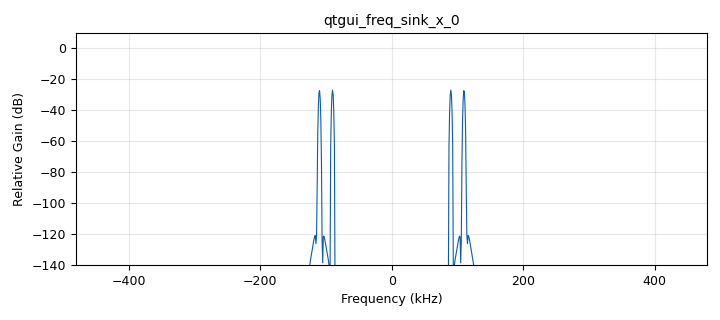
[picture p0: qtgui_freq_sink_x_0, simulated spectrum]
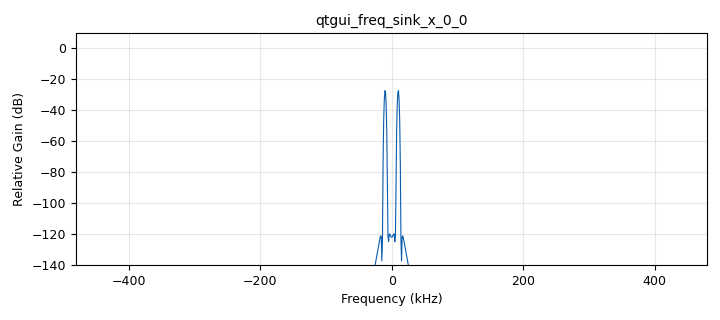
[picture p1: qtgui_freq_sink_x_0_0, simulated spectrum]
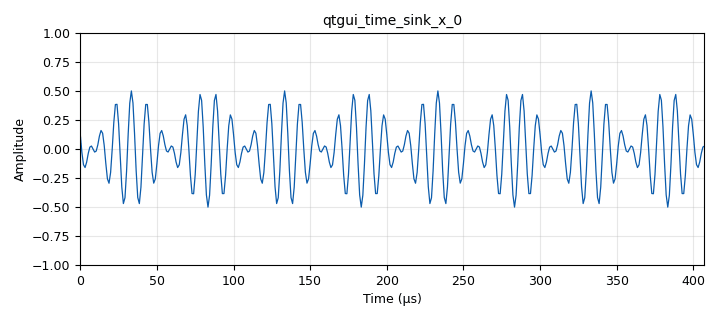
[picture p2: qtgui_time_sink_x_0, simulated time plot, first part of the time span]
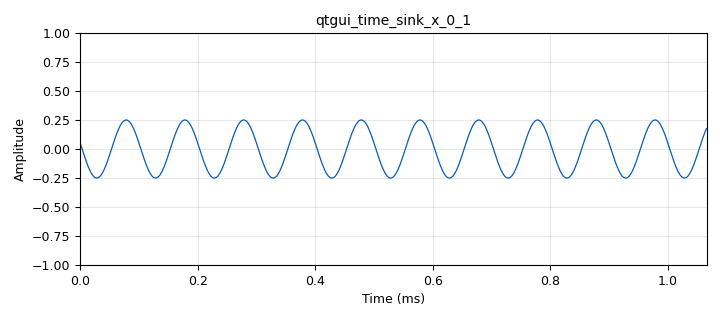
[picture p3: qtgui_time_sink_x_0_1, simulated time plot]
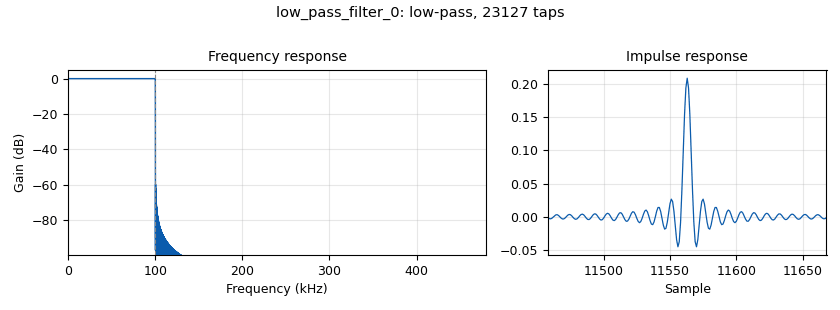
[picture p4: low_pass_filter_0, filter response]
options:
  parameters:
    generate_options: qt_gui
    id: dsbsc
    output_language: python
    title: Not titled yet
  states: {}

blocks:
- name: fc
  id: variable
  parameters:
    value: '100000'
  states: {}
- name: fm
  id: variable
  parameters:
    value: '10000'
  states: {}
- name: samp_rate
  id: variable
  parameters:
    value: '960000'
  states: {}
- name: analog_sig_source_x_0
  id: analog_sig_source_x
  parameters:
    amp: '1'
    freq: fc
    offset: '0'
    phase: '0'
    samp_rate: samp_rate
    type: float
    waveform: analog.GR_COS_WAVE
  states: {}
- name: analog_sig_source_x_0_0
  id: analog_sig_source_x
  parameters:
    amp: '0.5'
    freq: fm
    offset: '0'
    phase: '0'
    samp_rate: samp_rate
    type: float
    waveform: analog.GR_COS_WAVE
  states: {}
- name: blocks_multiply_xx_0
  id: blocks_multiply_xx
  parameters:
    type: float
  states: {}
- name: blocks_multiply_xx_0_0
  id: blocks_multiply_xx
  parameters:
    type: float
  states: {}
- name: low_pass_filter_0
  id: low_pass_filter
  parameters:
    cutoff_freq: fc
    decim: '1'
    gain: '1'
    samp_rate: samp_rate
    type: fir_filter_fff
    width: fc/1000
    win: window.WIN_HAMMING
  states: {}
- name: qtgui_freq_sink_x_0
  id: qtgui_freq_sink_x
  parameters:
    bw: samp_rate
    fc: '0'
    fftsize: '1024'
    gui_hint: tab@0
    type: float
  states: {}
- name: qtgui_freq_sink_x_0_0
  id: qtgui_freq_sink_x
  parameters:
    bw: samp_rate
    fc: '0'
    fftsize: '1024'
    gui_hint: tab@1
    type: float
  states: {}
- name: qtgui_time_sink_x_0
  id: qtgui_time_sink_x
  parameters:
    gui_hint: tab@0
    size: '1024'
    srate: samp_rate
    type: float
  states: {}
- name: qtgui_time_sink_x_0_1
  id: qtgui_time_sink_x
  parameters:
    gui_hint: tab@1
    size: '1024'
    srate: samp_rate
    type: float
  states: {}
- name: tab
  id: qtgui_tab_widget
  parameters:
    label0: Modulated
    label1: Demodulated
    num_tabs: '2'
  states: {}

connections:
- [analog_sig_source_x_0, '0', blocks_multiply_xx_0, '0']
- [analog_sig_source_x_0, '0', blocks_multiply_xx_0_0, '0']
- [analog_sig_source_x_0_0, '0', blocks_multiply_xx_0, '1']
- [blocks_multiply_xx_0, '0', blocks_multiply_xx_0_0, '1']
- [blocks_multiply_xx_0, '0', qtgui_freq_sink_x_0, '0']
- [blocks_multiply_xx_0, '0', qtgui_time_sink_x_0, '0']
- [blocks_multiply_xx_0_0, '0', low_pass_filter_0, '0']
- [low_pass_filter_0, '0', qtgui_freq_sink_x_0_0, '0']
- [low_pass_filter_0, '0', qtgui_time_sink_x_0_1, '0']

metadata:
  file_format: 1
  grc_version: 3.10.3.0
